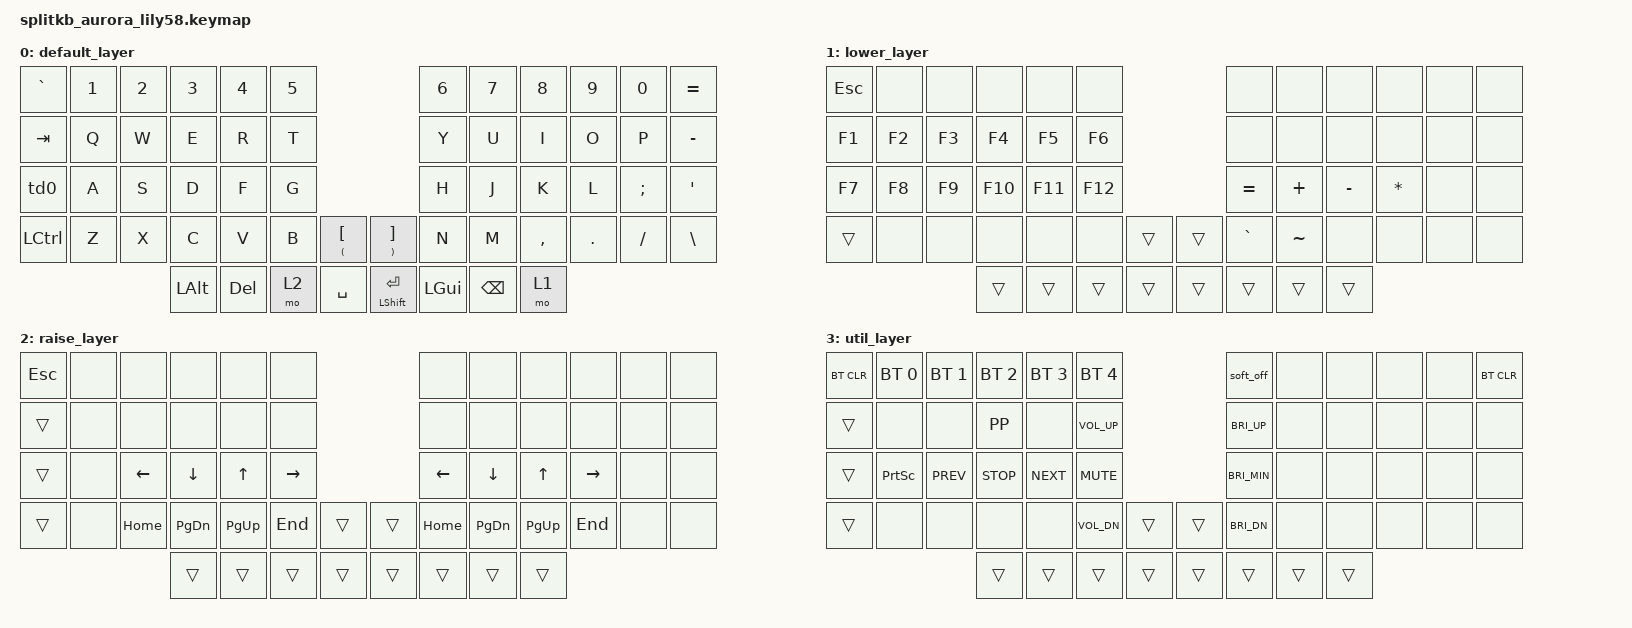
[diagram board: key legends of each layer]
/*
 * Copyright (c) 2022 The ZMK Contributors
 *
 * SPDX-License-Identifier: MIT
 */

#include <behaviors.dtsi>
#include <dt-bindings/zmk/keys.h>
#include <dt-bindings/zmk/bt.h>
#include <dt-bindings/zmk/ext_power.h>

&mt {
        tapping-term-ms = <200>;
    };

&soft_off {
    hold-time-ms = <5000>;
};

/ {
    conditional_layers{
        compatible = "zmk,conditional-layers";
        util_layer{
            if-layers = <1 2>;
            then-layer= <3>;
        };
    };

    behaviors {
        td0: tap_dance_shift_caps {
            compatible = "zmk,behavior-tap-dance";
            #binding-cells = <0>;
            tapping-term-ms = <200>;
            bindings = <&kp LSHFT>, <&caps_word>;
        };
    };

    keymap {
        compatible = "zmk,keymap";

        default_layer {
// ------------------------------------------------------------------------------------------------------------
// |  GRV  |  1  |  2  |  3   |  4   |  5   |                   |  6   |  7    |  8    |  9   |   0   |   =   |
// |  TAB  |  Q  |  W  |  E   |  R   |  T   |                   |  Y   |  U    |  I    |  O   |   P   |   -   |
// | SHIFT |  A  |  S  |  D   |  F   |  G   |                   |  H   |  J    |  K    |  L   |   ;   |   '   |
// | CTRL  |  Z  |  X  |  C   |  V   |  B   |   "["  |  |  "]"  |  N   |  M    |  ,    |  .   |   /   |   \   |
//                     | ALT  | DEL  | RAISE|  SPACE |  | ENTER | LOWER| BSPC  | GUI   |
            bindings = <
&kp GRAVE &kp N1 &kp N2 &kp N3   &kp N4   &kp N5                                   &kp N6    &kp N7   &kp N8    &kp N9  &kp N0   &kp EQUAL
&kp TAB   &kp Q  &kp W  &kp E    &kp R    &kp T                                    &kp Y     &kp U    &kp I     &kp O   &kp P    &kp MINUS
&td0      &kp A  &kp S  &kp D    &kp F    &kp G                                    &kp H     &kp J    &kp K     &kp L   &kp SEMI &kp SQT
&kp LCTRL &kp Z  &kp X  &kp C    &kp V    &kp B  &mt LPAR LBKT   &mt RPAR RBKT     &kp N     &kp M    &kp COMMA &kp DOT &kp FSLH &kp BSLH
                        &kp LALT &kp DEL  &mo 2  &kp SPACE       &mt LSHIFT RET    &kp LGUI  &kp BSPC &mo 1
            >;
        };

        lower_layer {
// ------------------------------------------------------------------------------------------------------------
// |  ESC  |     |     |      |      |      |                   |      |       |       |      |       |       |
// |  F1   |  F2 |  F3 |  F4  |  F5  |  F6  |                   |      |       |       |      |       |       |
// |  F7   |  F8 |  F9 |  F10 |  F11 |  F12 |                   |  =   |  +    |  -    |  *   |       |       |
// |       |     |     |      |      |      |        |  |       | `    |  ~    |       |      |       |       |
//                     |      |      |      |        |  |       |      |       |       |
            bindings = <
&kp ESC    &none        &none         &none         &none        &none                        &none     &none       &none           &none     &none     &none
&kp F1     &kp F2       &kp F3        &kp F4        &kp F5       &kp F6                       &none     &none       &none           &none     &none     &none
&kp F7     &kp F8       &kp F9        &kp F10       &kp F11      &kp F12                      &kp EQUAL &kp PLUS    &kp MINUS       &kp STAR  &none     &none
&trans     &none        &none         &none         &none        &none     &trans   &trans    &kp GRAVE &kp TILDE   &none           &none     &none     &none
                                      &trans        &trans       &trans    &trans   &trans    &trans    &trans     &trans
            >;
        };

        raise_layer {
// ------------------------------------------------------------------------------------------------------------
// | ESC |     |     |      |      |      |                   |      |       |       |      |       |       |
// |     |     |     |      |      |      |                   |      |       |       |      |       |       |
// |     |     |  <- | v    |  ^   |  ->  |                   |   <- |   v   |  ^    |  ->  |       |       |
// |     |     | HOME|PG_DN | PG_UP| END  |      |    |       | HOME | PG_DN | PG_UP |  END |       |       |
//                   |      |      |      |      |    |       |      |       |       |
            bindings = <
&kp ESC &none      &none       &none        &none            &none                            &none       &none     &none     &none     &none     &none
&trans  &none      &none       &none        &none            &none                            &none       &none     &none     &none     &none     &none
&trans  &none      &kp LEFT    &kp DOWN     &kp UP           &kp RIGHT                        &kp LEFT    &kp DOWN  &kp UP    &kp RIGHT &none     &none
&trans  &none      &kp HOME    &kp PG_DN    &kp PG_UP        &kp END       &trans   &trans    &kp HOME    &kp PG_DN &kp PG_UP &kp END   &none     &none
                               &trans  &trans  &trans        &trans                           &trans    &trans      &trans    &trans
            >;
        };

        util_layer {

// ------------------------------------------------------------------------------------------------------------
// | BTCLR | BT1 | BT2 |  BT3 |  BT4 |  BT5 |                   |SOFTOFF|       |       |      |       |BT CLALL|
// |       |     |     |  PP  |      |VOL_UP|                   |BRI_UP |       |       |      |       |        |
// |       |PSCRN|PREV |STOP  |NEXT  | MUTE |                   |BRI_MIN|       |       |      |       |        |
// |       |     |     |      |      |VOL_DN|      |    |       |BRI_DN |       |       |      |       |        |
//                     |      |      |      |      |    |       |       |       |       |
            bindings = <
&bt BT_CLR        &bt BT_SEL 0     &bt BT_SEL 1     &bt BT_SEL 2      &bt BT_SEL 3      &bt BT_SEL 4                       &soft_off      &none     &none     &none     &none     &bt BT_CLR
&trans            &none            &none            &kp K_PP          &none             &kp C_VOL_UP                       &kp C_BRI_UP   &none     &none     &none     &none     &none
&trans            &kp PSCRN        &kp C_PREV       &kp C_STOP        &kp C_NEXT        &kp C_MUTE                         &kp C_BRI_MIN  &none     &none     &none     &none     &none
&trans            &none            &none            &none             &none             &kp C_VOL_DN     &trans  &trans    &kp C_BRI_DN   &none     &none     &none     &none     &none
                                   &trans           &trans            &trans            &trans                             &trans         &trans    &trans    &trans
            >;
        };
    };
};
